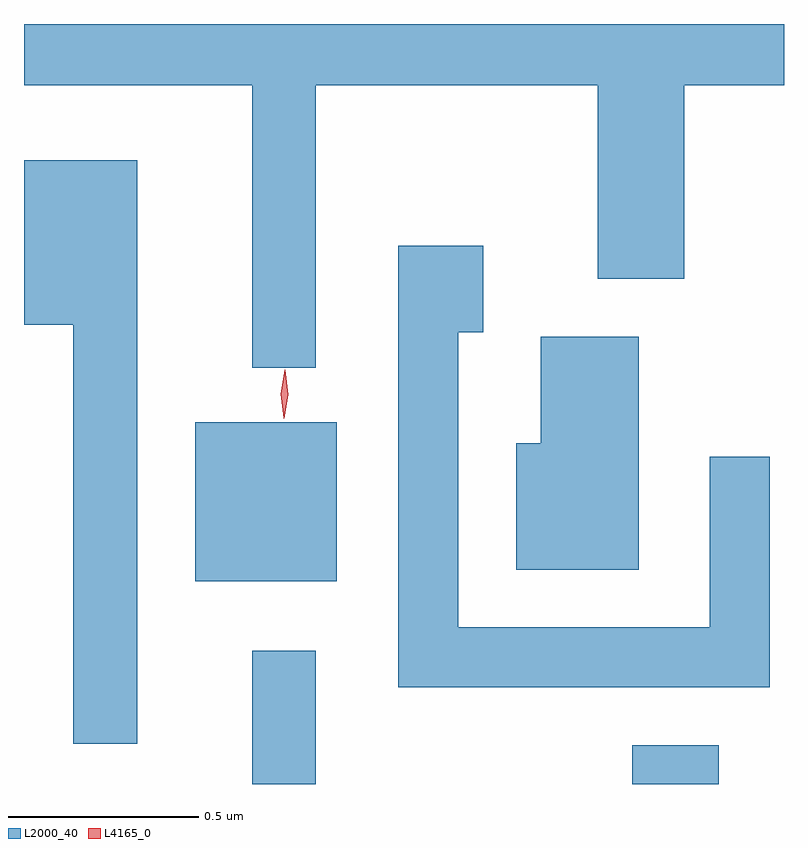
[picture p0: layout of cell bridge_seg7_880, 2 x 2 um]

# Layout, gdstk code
import gdstk
lib = gdstk.Library(unit=1e-6, precision=1e-09)
def R(c, l, rs):  # rectangles x0, y0, x1, y1
    for r in rs: c.add(gdstk.rectangle(r[:2], r[2:], *l))
def P(c, l, *ps):  # polygons
    for p in ps: c.add(gdstk.Polygon(p, *l))
L2000_40 = (2000, 40)
L4165_0 = (4165, 0)

bridge_seg7_880 = lib.new_cell('bridge_seg7_880')
R(bridge_seg7_880, L2000_40, [(297.041,1734.677,297.209,1735.028), (298.041,1734.677,298.269,1734.779), (296.891,1735.211,297.264,1735.629)])
P(bridge_seg7_880, L2000_40, [(297.209,1736.516),(297.951,1736.516),(297.951,1736.006),(298.179,1736.006),(298.179,1736.516),(298.441,1736.516),(298.441,1736.677),(296.441,1736.677),(296.441,1736.516),(297.041,1736.516),(297.041,1735.773),(297.209,1735.773)],
  [(296.739,1736.319),(296.441,1736.319),(296.441,1735.886),(296.571,1735.886),(296.571,1734.783),(296.739,1734.783)],
  [(298.404,1735.538),(298.246,1735.538),(298.246,1735.089),(297.584,1735.089),(297.584,1735.866),(297.649,1735.866),(297.649,1736.094),(297.426,1736.094),(297.426,1734.931),(298.404,1734.931)],
  [(298.059,1735.854),(297.801,1735.854),(297.801,1735.574),(297.736,1735.574),(297.736,1735.241),(298.059,1735.241)])
P(bridge_seg7_880, L4165_0, [(297.125,1735.638),(297.125,1735.639),(297.116,1735.703),(297.127,1735.767),(297.127,1735.767),(297.128,1735.767),(297.136,1735.702),(297.126,1735.639)])

lib.write_gds('bridge_seg7_880.gds')
